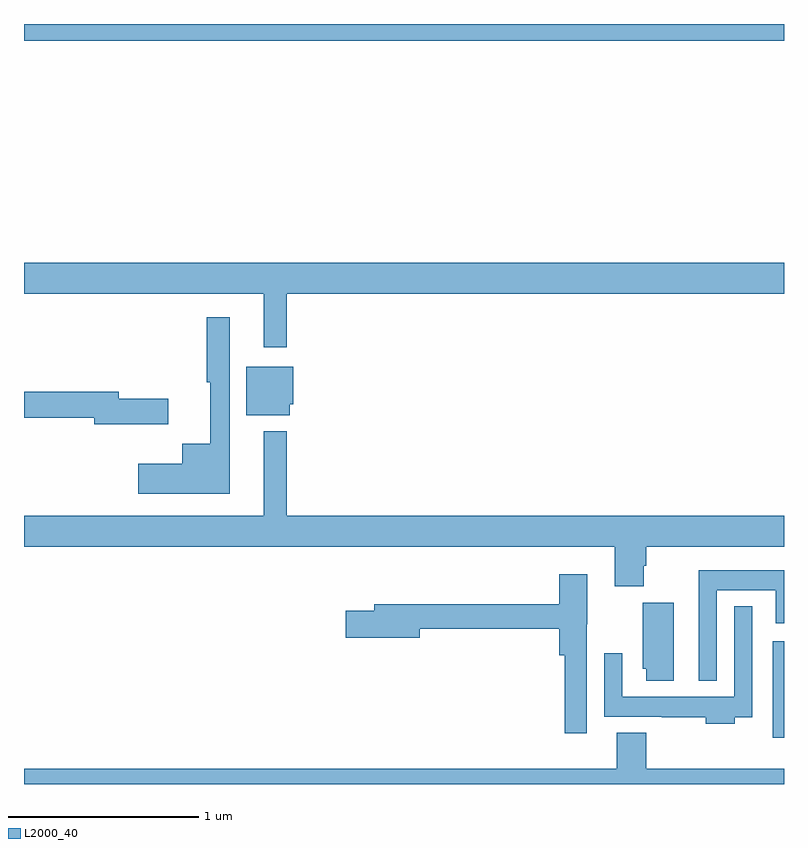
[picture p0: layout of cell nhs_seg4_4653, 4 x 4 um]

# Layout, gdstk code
import gdstk
lib = gdstk.Library(unit=1e-6, precision=1e-09)
def R(c, l, rs):  # rectangles x0, y0, x1, y1
    for r in rs: c.add(gdstk.rectangle(r[:2], r[2:], *l))
def P(c, l, *ps):  # polygons
    for p in ps: c.add(gdstk.Polygon(p, *l))
L2000_40 = (2000, 40)

nhs_seg4_4653 = lib.new_cell('nhs_seg4_4653')
R(nhs_seg4_4653, L2000_40, [(364.94,801.144,365,801.652), (361,804.812,365,804.9)])
P(nhs_seg4_4653, L2000_40, [(362.383,803.48),(365,803.48),(365,803.644),(361,803.644),(361,803.48),(362.261,803.48),(362.261,803.199),(362.383,803.199)],
  [(362.083,803.356),(361.962,803.356),(361.962,803.015),(361.979,803.015),(361.979,802.69),(361.832,802.69),(361.832,802.585),(361.602,802.585),(361.602,802.427),(362.083,802.427)],
  [(362.398,802.899),(362.416,802.899),(362.416,803.095),(362.171,803.095),(362.171,802.841),(362.398,802.841)],
  [(361.759,802.928),(361.498,802.928),(361.498,802.964),(361,802.964),(361,802.828),(361.37,802.828),(361.37,802.793),(361.759,802.793)],
  [(364.261,802.049),(364.274,802.049),(364.274,802.148),(365,802.148),(365,802.312),(362.383,802.312),(362.383,802.756),(362.261,802.756),(362.261,802.312),(361,802.312),(361,802.148),(364.109,802.148),(364.109,801.94),(364.261,801.94)],
  [(364.647,801.92),(364.956,801.92),(364.956,801.746),(365,801.746),(365,802.024),(364.55,802.024),(364.55,801.443),(364.647,801.443)],
  [(363.963,801.741),(363.964,801.741),(363.964,802.003),(363.818,802.003),(363.818,801.847),(362.843,801.847),(362.843,801.813),(362.694,801.813),(362.694,801.671),(363.082,801.671),(363.082,801.718),(363.818,801.718),(363.818,801.578),(363.847,801.578),(363.847,801.168),(363.963,801.168)],
  [(364.42,801.855),(364.256,801.855),(364.256,801.507),(364.274,801.507),(364.274,801.444),(364.42,801.444)],
  [(364.741,801.252),(364.833,801.252),(364.833,801.835),(364.737,801.835),(364.737,801.358),(364.149,801.358),(364.149,801.589),(364.053,801.589),(364.053,801.254),(364.357,801.254),(364.357,801.252),(364.589,801.252),(364.589,801.218),(364.741,801.218)],
  [(365,800.98),(364.274,800.98),(364.274,801.169),(364.121,801.169),(364.121,800.98),(361,800.98),(361,800.9),(365,800.9)])

lib.write_gds('nhs_seg4_4653.gds')
